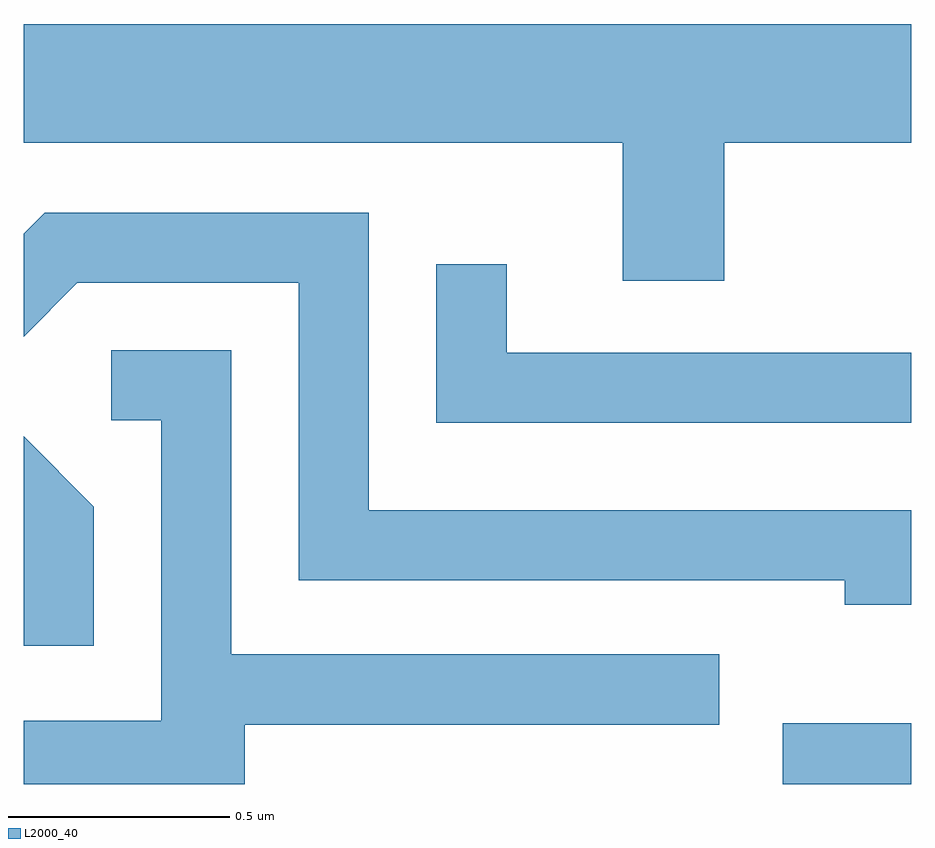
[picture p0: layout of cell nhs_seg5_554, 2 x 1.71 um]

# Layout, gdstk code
import gdstk
lib = gdstk.Library(unit=1e-6, precision=1e-09)
def R(c, l, rs):  # rectangles x0, y0, x1, y1
    for r in rs: c.add(gdstk.rectangle(r[:2], r[2:], *l))
def P(c, l, *ps):  # polygons
    for p in ps: c.add(gdstk.Polygon(p, *l))
L2000_40 = (2000, 40)

nhs_seg5_554 = lib.new_cell('nhs_seg5_554')
R(nhs_seg5_554, L2000_40, [(191.321,1402.072,191.611,1402.209)])
P(nhs_seg5_554, L2000_40, [(191.189,1403.516),(191.611,1403.516),(191.611,1403.784),(189.611,1403.784),(189.611,1403.516),(190.961,1403.516),(190.961,1403.206),(191.189,1403.206)],
  [(191.611,1402.689),(190.389,1402.689),(190.389,1403.359),(189.659,1403.359),(189.611,1403.311),(189.611,1403.08),(189.732,1403.201),(190.231,1403.201),(190.231,1402.531),(191.461,1402.531),(191.461,1402.476),(191.611,1402.476)],
  [(191.611,1403.044),(190.699,1403.044),(190.699,1403.243),(190.541,1403.243),(190.541,1402.886),(191.611,1402.886)],
  [(190.109,1402.206),(191.178,1402.206),(191.178,1402.364),(190.079,1402.364),(190.079,1403.049),(189.808,1403.049),(189.808,1402.891),(189.921,1402.891),(189.921,1402.214),(189.611,1402.214),(189.611,1402.072),(190.109,1402.072)],
  [(189.769,1402.697),(189.611,1402.855),(189.611,1402.383),(189.769,1402.383)])

lib.write_gds('nhs_seg5_554.gds')
